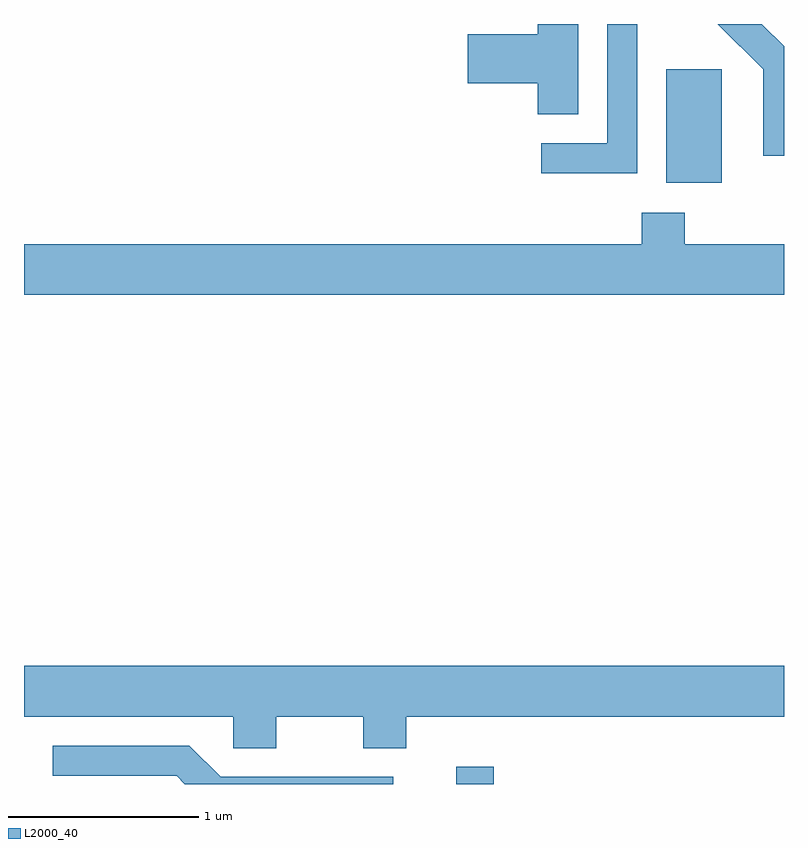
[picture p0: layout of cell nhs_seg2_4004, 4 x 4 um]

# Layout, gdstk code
import gdstk
lib = gdstk.Library(unit=1e-6, precision=1e-09)
def R(c, l, rs):  # rectangles x0, y0, x1, y1
    for r in rs: c.add(gdstk.rectangle(r[:2], r[2:], *l))
def P(c, l, *ps):  # polygons
    for p in ps: c.add(gdstk.Polygon(p, *l))
L2000_40 = (2000, 40)

nhs_seg2_4004 = lib.new_cell('nhs_seg2_4004')
R(nhs_seg2_4004, L2000_40, [(305.886,985.802,306.084,985.894), (306.991,988.966,307.284,989.564)])
P(nhs_seg2_4004, L2000_40, [(306.839,989.802),(306.681,989.802),(306.681,989.174),(306.333,989.174),(306.333,989.016),(306.839,989.016)],
  [(307.611,989.685),(307.494,989.802),(307.263,989.802),(307.501,989.564),(307.501,989.108),(307.611,989.108)],
  [(306.529,989.802),(306.316,989.802),(306.316,989.749),(305.946,989.749),(305.946,989.491),(306.316,989.491),(306.316,989.326),(306.529,989.326)],
  [(307.611,988.644),(307.089,988.644),(307.089,988.809),(306.861,988.809),(306.861,988.644),(303.611,988.644),(303.611,988.376),(307.611,988.376)],
  [(304.939,986.156),(305.396,986.156),(305.396,985.991),(305.624,985.991),(305.624,986.156),(307.611,986.156),(307.611,986.424),(303.611,986.424),(303.611,986.156),(304.711,986.156),(304.711,985.991),(304.939,985.991)],
  [(305.554,985.839),(304.647,985.839),(304.482,986.004),(303.763,986.004),(303.763,985.846),(304.414,985.846),(304.458,985.802),(305.554,985.802)])

lib.write_gds('nhs_seg2_4004.gds')
